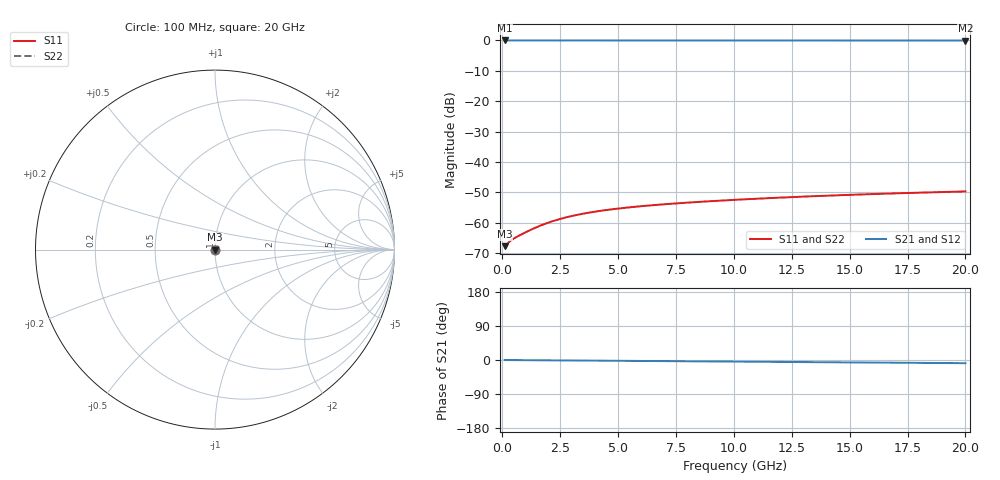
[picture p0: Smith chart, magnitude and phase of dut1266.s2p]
! Touchstone file exported from HFSS 2026.1.0
!  File:  C:/ffzhzh/LocalFiles/Ansys_Project_Files/temp_train_TSV_1266_1783194005_51560.aedt
!  Generated:  03:41:50 AM Jul  5, 2026
!  Design:  TSV
!  Project:  temp_train_TSV_1266_1783194005_51560
! Variables:
!  h_bsmrdl = 2um
!  h_ox = 20um
!  h_rdl = 5um
!  h_sub = 90.81um
!  h_tmrdl = 5um
!  h_tsv = 90.81um
!  h_via = 3um
!  l_bsmrdl = 300um
!  l_sub = 410.7um
!  l_tmrdl = 200um
!  m_sub = 200um
!  pitch = 22.49um
!  r_tsv = 5.35um
!  s_tmrdl = 10um
!  w_bsmrdl = 18um
!  w_sub = 500um
!  w_tmrdl = 12um
!  x_tsv_center1 = 206um
!  x_tsv_center2 = 524um
!  x_tsv_center3 = 736um
!  x_tsv_center4 = 1054um
!  x_tsv_center5 = 1266um
!  x_tsv_center6 = 1584um
# GHz S MA R 50.000000
! Terminal data exported
! Port[1] = TSV1_1_T1
! Port[2] = TSV1_1_T2
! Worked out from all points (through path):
!   200 points, 100 MHz to 20 GHz, reference 50 ohm
!   highest |S21| = 0.00 dB at 100 MHz (marker M1); lowest = 0.0 dB at 20 GHz (marker M2)
!   group delay of S21, straight-line fit = 1.17 ps
!   lowest |S11| = -67.8 dB at 100 MHz (marker M3), VSWR 1.00, Z = 50 + j0.00706 ohm
!   |S11| at or under -10 dB: start of sweep to end of sweep
!   |S22| runs from -67.8 to -49.8 dB; largest |S21 - S12| = 4.8e-15
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0.1  0.0004083 10.0  0.9996 -0.0  0.9996 -0.0  0.0004083 10.0
! Gamma 0 0 0 0
! Port Impedance 50 0 50 0
0.3  0.000482 20.9  0.9996 -0.1  0.9996 -0.1  0.000482 20.9
0.4  0.0005156 23.9  0.9995 -0.2  0.9995 -0.2  0.0005155 23.9
0.6  0.0005746 28.7  0.9995 -0.3  0.9995 -0.3  0.0005745 28.7
0.8  0.0006314 32.6  0.9994 -0.4  0.9994 -0.4  0.0006314 32.6
1.1  0.0007202 37.2  0.9994 -0.5  0.9994 -0.5  0.0007202 37.2
1.4  0.0008132 40.3  0.9993 -0.6  0.9993 -0.6  0.0008132 40.3
1.6  0.000876 41.7  0.9993 -0.7  0.9993 -0.7  0.000876 41.7
2  0.001 43.4  0.9992 -0.9  0.9992 -0.9  0.001 43.4
2.5  0.001147 44.2  0.9992 -1.1  0.9992 -1.1  0.001147 44.2
3  0.001281 44.2  0.9991 -1.3  0.9991 -1.3  0.001281 44.2
3.5  0.001402 43.7  0.999 -1.5  0.999 -1.5  0.001402 43.7
4.2  0.001552 42.9  0.9989 -1.8  0.9989 -1.8  0.001552 42.9
4.9  0.001683 42.1  0.9988 -2.1  0.9988 -2.1  0.001683 42.1
5.8  0.00183 41.1  0.9987 -2.5  0.9987 -2.5  0.00183 41.1
6.8  0.001974 40.2  0.9986 -2.9  0.9986 -2.9  0.001974 40.2
8.3  0.002167 39.1  0.9984 -3.5  0.9984 -3.5  0.002167 39.1
10.1  0.002375 38.0  0.9982 -4.3  0.9982 -4.3  0.002375 38.0
11.7  0.002545 37.1  0.9981 -4.9  0.9981 -4.9  0.002545 37.1
13.4  0.002714 36.1  0.998 -5.7  0.998 -5.7  0.002714 36.1
16.7  0.003005 34.0  0.9978 -7.0  0.9978 -7.0  0.003005 34.0
20  0.003253 31.9  0.9975 -8.4  0.9975 -8.4  0.003252 31.9
